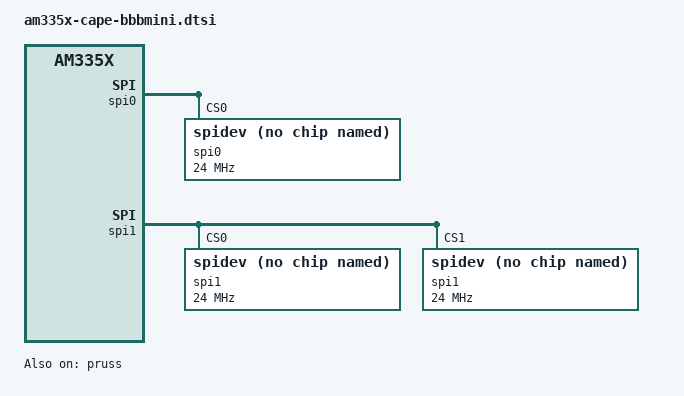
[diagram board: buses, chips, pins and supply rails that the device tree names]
/*
 * Copyright (C) 2012 Texas Instruments Incorporated - http://www.ti.com/
 *
 * This program is free software; you can redistribute it and/or modify
 * it under the terms of the GNU General Public License version 2 as
 * published by the Free Software Foundation.
 */

#include <dt-bindings/board/am335x-bbw-bbb-base.h>

&am33xx_pinmux {
	bb_pruss_pins: pinmux_pruss_pins {
		pinctrl-single,pins = <
			0x03c 0x35	/* ecap0_in_pwm0_out.pr1_ecap0_ecap_capin, MODE5 | INPUT_PULLUP | PRU, PPM-sum, SBUS, DSM  */

			0x0e8 0x25	/* lcd_pclk.pr1_pru1_pru_r30_10, MODE5 | OUTPUT | PRU, CH_1 */
			0x0e0 0x25	/* lcd_vsync.pr1_pru1_pru_r30_8, MODE5 | OUTPUT | PRU, CH_2 */
			0x0ec 0x25	/* lcd_ac_bias_en.pr1_pru1_pru_r30_11, MODE5 | OUTPUT | PRU, CH_3 */
			0x0e4 0x25	/* lcd_hsync.pr1_pru1_pru_r30_9, MODE5 | OUTPUT | PRU, CH_4 */
			0x0bc 0x25	/* lcd_data7.pr1_pru1_pru_r30_7, MODE5 | OUTPUT | PRU, CH_5 */
			0x0b8 0x25	/* lcd_data6.pr1_pru1_pru_r30_6, MODE5 | OUTPUT | PRU, CH_6 */
			0x0b4 0x25	/* lcd_data5.pr1_pru1_pru_r30_5, MODE5 | OUTPUT | PRU, CH_7 */
			0x0b0 0x25	/* lcd_data4.pr1_pru1_pru_r30_4, MODE5 | OUTPUT | PRU, CH_8 */
			0x0ac 0x25	/* lcd_data3.pr1_pru1_pru_r30_3, MODE5 | OUTPUT | PRU, CH_9 */
			0x0a8 0x25	/* lcd_data2.pr1_pru1_pru_r30_2, MODE5 | OUTPUT | PRU, CH_10 */
			0x0a4 0x25	/* lcd_data1.pr1_pru1_pru_r30_1, MODE5 | OUTPUT | PRU, CH_11 */
			0x0a0 0x25	/* lcd_data0.pr1_pru1_pru_r30_0, MODE5 | OUTPUT | PRU, CH_12 */
		>;
	};

	bb_spi0_pins: pinmux_spi0_pins {
		pinctrl-single,pins = <
			0x150 0x30  /* spi0_sclk.spi0_sclk, MODE0 | INPUT_PULLUP | SPI0_SCLK P9_22 */
			0x154 0x30  /* spi0_d0.spi0_d0, MODE0 | INPUT_PULLUP | SPI0_MISO P9_21 */
			0x158 0x10  /* spi0_d0.spi0_d1, MODE0 | OUTPUT_PULLUP | SPI0_MOSI P9_18 */
			0x15c 0x10  /* spi0_cs0.spi0_cs0, MODE0 | OUTPUT_PULLUP | SPI0_CS0 P9_17 */
		>;
	};

	bb_spi1_pins: pinmux_spi1_pins {
		pinctrl-single,pins = <
			0x190 0x33	/* mcasp0_aclkx.spi1_sclk, MODE3 | INPUT_PULLUP | SPI1_SCLK P9_31 */
			0x194 0x33	/* mcasp0_fsx.spi1_d0, MODE3 | INPUT_PULLUP | SPI1_MISO P9_29 */
			0x198 0x13	/* mcasp0_axr0.spi1_d1, MODE3 | OUTPUT_PULLUP | SPI1_MOSI P9_30 */
			0x19c 0x13	/* mcasp0_ahclkr.spi1_cs0, MODE3 | OUTPUT_PULLUP | MPU9250 CS0 P9_28 */
			0x164 0x12	/* ecap0_in_pwm0_out.spi1_cs1, MODE2 | OUTPUT_PULLUP | MS5611 CS1 P9_42 */

			0x1a0 0x30  /* Mcasp0_aclkr P9_42 */
		>;
	};
};

#include "am335x-peripheral-ttyS4.dtsi"
#include "am335x-bone-pinmux-ttyS4.dtsi"

#include "am335x-peripheral-ttyS5.dtsi"
#include "am335x-bone-pinmux-ttyS5.dtsi"

&pruss {
	status = "okay";
	pinctrl-names = "default";
	pinctrl-0 = <&bb_pruss_pins>;
};

&spi0 {
	pinctrl-names = "default";
	pinctrl-0 = <&bb_spi0_pins>;
	status = "okay";

	spi0@0 {
		reg = <0>;
		spi-max-frequency = <24000000>;
		compatible = "spidev";
	};
};

&spi1 {
	pinctrl-names = "default";
	pinctrl-0 = <&bb_spi1_pins>;
	status = "okay";

	spi1@0 {
		reg = <0>;
		spi-max-frequency = <24000000>;
		compatible = "spidev";
	};

	spi1@1 {
		reg = <1>;
		spi-max-frequency = <24000000>;
		compatible = "spidev";
	};
};

